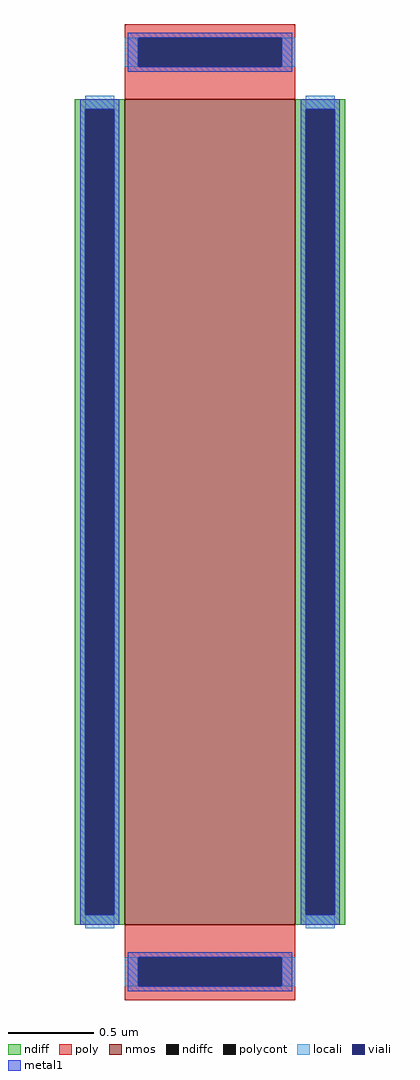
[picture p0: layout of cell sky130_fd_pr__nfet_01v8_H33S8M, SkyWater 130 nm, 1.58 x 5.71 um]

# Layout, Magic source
magic
tech sky130A
magscale 1 2
<< nmos >>
rect -100 -483 100 483
<< ndiff >>
rect -158 471 -100 483
rect -158 -471 -146 471
rect -112 -471 -100 471
rect -158 -483 -100 -471
rect 100 471 158 483
rect 100 -471 112 471
rect 146 -471 158 471
rect 100 -483 158 -471
<< ndiffc >>
rect -146 -471 -112 471
rect 112 -471 146 471
<< poly >>
rect -100 555 100 571
rect -100 521 -84 555
rect 84 521 100 555
rect -100 483 100 521
rect -100 -521 100 -483
rect -100 -555 -84 -521
rect 84 -555 100 -521
rect -100 -571 100 -555
<< polycont >>
rect -84 521 84 555
rect -84 -555 84 -521
<< locali >>
rect -100 521 -84 555
rect 84 521 100 555
rect -146 471 -112 487
rect -146 -487 -112 -471
rect 112 471 146 487
rect 112 -487 146 -471
rect -100 -555 -84 -521
rect 84 -555 100 -521
<< viali >>
rect -84 521 84 555
rect -146 -471 -112 471
rect 112 -471 146 471
rect -84 -555 84 -521
<< metal1 >>
rect -96 555 96 561
rect -96 521 -84 555
rect 84 521 96 555
rect -96 515 96 521
rect -152 471 -106 483
rect -152 -471 -146 471
rect -112 -471 -106 471
rect -152 -483 -106 -471
rect 106 471 152 483
rect 106 -471 112 471
rect 146 -471 152 471
rect 106 -483 152 -471
rect -96 -521 96 -515
rect -96 -555 -84 -521
rect 84 -555 96 -521
rect -96 -561 96 -555
<< properties >>
string gencell sky130_fd_pr__nfet_01v8
string library sky130
string parameters w 4.829 l 1.000 m 1 nf 1 diffcov 100 polycov 100 guard 0 glc 1 grc 1 gtc 1 gbc 1 tbcov 100 rlcov 100 topc 1 botc 1 poverlap 0 doverlap 1 lmin 0.15 wmin 0.42 compatible {sky130_fd_pr__nfet_01v8 sky130_fd_pr__nfet_01v8_lvt  sky130_fd_bs_flash__special_sonosfet_star  sky130_fd_pr__nfet_g5v0d10v5 sky130_fd_pr__nfet_05v0_nvt  sky130_fd_pr__nfet_03v3_nvt} full_metal 1 viasrc 100 viadrn 100 viagate 100 viagb 0 viagr 0 viagl 0 viagt 0
<< end >>
